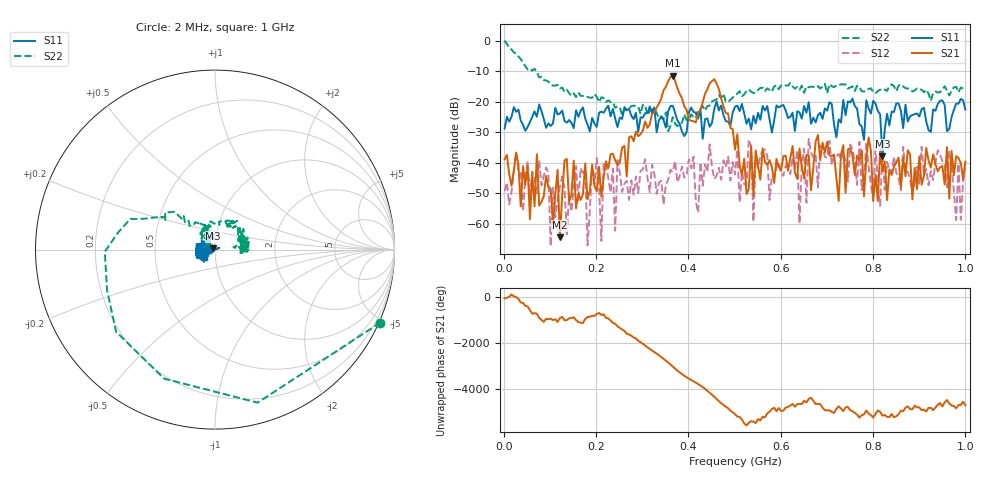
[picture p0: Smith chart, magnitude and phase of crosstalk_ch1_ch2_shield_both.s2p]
!Keysight Technologies N9923A: A.12.45
!Date: Friday, 10 October 2025 03:09:00
!Timezone: (UTC+08:00) Kuala Lumpur, Singapore
!Model: N9923A
!Serial: MY61181427
!GPS Latitude:
!GPS Longitude:
!GPS TimeStamp: 0001-01-01 00:00:00Z
!GPS Seconds Since Last Read: 0
!CHECKSUM:1442340385
!Correction: S11(ON U?)S21(ON U?)S12(ON U?)S22(ON U?)
!S2P File: Measurements:S11,S21,S12,S22:
# Hz S DB R 50
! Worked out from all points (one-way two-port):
!   201 points, 2 MHz to 1 GHz, reference 50 ohm
!   highest |S21| = -11.49 dB at 366.3 MHz (marker M1); lowest = -64.4 dB at 121.8 MHz (marker M2)
!   lowest |S11| = -37.9 dB at 820.4 MHz (marker M3), VSWR 1.03, Z = 49 + j0.713 ohm
!   |S11| at or under -10 dB: start of sweep to end of sweep
!   |S22| runs from -29.6 to 0.1 dB; largest |S21 - S12| = 0.26
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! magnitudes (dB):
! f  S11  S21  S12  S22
! 2 MHz  -28.8  -38.9  -49.3  0.1
! 116.8 MHz  -24.2  -42.3  -52.2  -14.5
! 121.8 MHz  -23.8  -64.4  -47.8  -15.7
! 131.7 MHz  -26.3  -39.2  -48.1  -16.7
! 171.7 MHz  -21.9  -50.3  -43.3  -18.1
! 181.6 MHz  -27.5  -51.9  -67.0  -18.4
! 201.6 MHz  -28.3  -49.3  -38.4  -18.3
! 211.6 MHz  -23.3  -51.1  -65.6  -18.5
! 216.6 MHz  -23.6  -44.6  -39.7  -18.8
! 241.5 MHz  -25.5  -39.2  -62.2  -22.0
! 246.5 MHz  -28.3  -40.7  -39.1  -21.5
! 336.3 MHz  -26.0  -20.6  -46.4  -25.3
! 366.3 MHz  -21.3  -11.5  -43.0  -25.0
! 501 MHz  -21.6  -35.7  -43.8  -17.9
! 635.7 MHz  -23.1  -45.2  -35.8  -15.1
! 640.7 MHz  -23.5  -35.3  -59.9  -16.1
! 670.7 MHz  -25.2  -41.5  -38.2  -15.1
! 820.4 MHz  -37.9  -42.7  -35.7  -16.3
! 835.3 MHz  -27.8  -42.1  -42.2  -14.8
! 965.1 MHz  -28.9  -51.7  -36.3  -18.0
! 990 MHz  -19.1  -40.0  -58.6  -15.4
! 1 GHz  -22.6  -39.7  -39.3  -15.4
